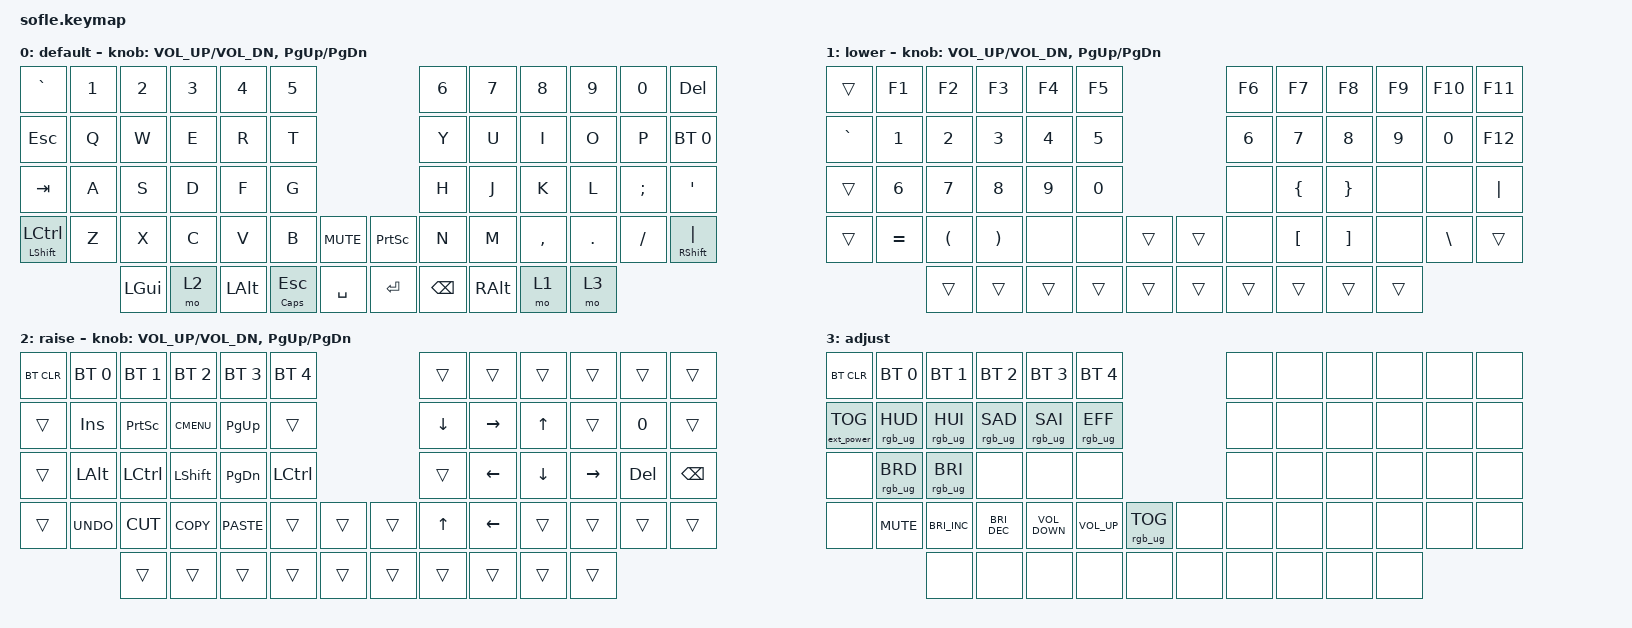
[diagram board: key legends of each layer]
/*
 * Copyright (c) 2020 The ZMK Contributors
 *
 * SPDX-License-Identifier: MIT
 */

#include <behaviors.dtsi>
#include <dt-bindings/zmk/bt.h>
#include <dt-bindings/zmk/ext_power.h>
#include <dt-bindings/zmk/keys.h>
#include <dt-bindings/zmk/rgb.h>

#define BASE 0
#define LOWER 1
#define RAISE 2
#define ADJUST 3

/ {
    // Activate ADJUST layer by pressing raise and lower

    conditional_layers {
        compatible = "zmk,conditional-layers";

        adjust_layer {
            if-layers = <LOWER RAISE>;
            then-layer = <ADJUST>;
        };
    };

    keymap {
        compatible = "zmk,keymap";

        default_layer {
            display-name = "default";

            // ------------------------------------------------------------------------------------------------------------
            // |   `   |  1  |  2  |  3   |  4   |  5   |                   |  6   |  7    |  8    |  9   |   0   |       |
            // |  ESC  |  Q  |  W  |  E   |  R   |  T   |                   |  Y   |  U    |  I    |  O   |   P   | BKSPC |
            // |  TAB  |  A  |  S  |  D   |  F   |  G   |                   |  H   |  J    |  K    |  L   |   ;   |   '   |
            // | SHIFT |  Z  |  X  |  C   |  V   |  B   |  MUTE  |  |       |  N   |  M    |  ,    |  .   |   /   | SHIFT |
            //               | GUI | ALT  | CTRL | LOWER|  ENTER |  | SPACE | RAISE| CTRL  | ALT   | GUI  |

            bindings = <
&kp GRAVE               &kp N1  &kp N2    &kp N3  &kp N4        &kp N5                                          &kp N6         &kp N7    &kp N8     &kp N9   &kp N0    &kp DEL
&kp ESC                 &kp Q   &kp W     &kp E   &kp R         &kp T                                           &kp Y          &kp U     &kp I      &kp O    &kp P     &bt BT_SEL 0
&kp TAB                 &kp A   &kp S     &kp D   &kp F         &kp G                                           &kp H          &kp J     &kp K      &kp L    &kp SEMI  &kp SQT
&mt LSHFT LEFT_CONTROL  &kp Z   &kp X     &kp C   &kp V         &kp B            &kp C_MUTE    &kp PRINTSCREEN  &kp N          &kp M     &kp COMMA  &kp DOT  &kp FSLH  &mt RSHFT PIPE
                                &kp LGUI  &mo 2   &kp LEFT_ALT  &mt CAPS ESCAPE  &kp SPACE     &kp ENTER        &kp BACKSPACE  &kp RALT  &mo 1      &mo 3
            >;

            sensor-bindings = <&inc_dec_kp C_VOL_UP C_VOL_DN &inc_dec_kp PG_UP PG_DN>;
        };

        lower_layer {
            display-name = "lower";

            // TODO: Some binds are waiting for shifted keycode support.
            // ------------------------------------------------------------------------------------------------------------
            // |       |  F1 |  F2 |  F3  |  F4  |  F5  |                   |  F6  |  F7   |  F8   |  F9  |  F10  |  F11  |
            // |   `   |  1  |  2  |  3   |  4   |  5   |                   |  6   |  7    |  8    |  9   |   0   |  F12  |
            // |       |  !  |  @  |  #   |  $   |  %   |                   |  ^   |  &    |  *    |  (   |   )   |   |   |
            // |       |  =  |  -  |  +   |  {   |  }   |        |  |       |  [   |  ]    |  ;    |  :   |   \   |       |
            //               |     |      |      |      |        |  |       |      |       |       |      |

            bindings = <
&trans     &kp F1        &kp F2                &kp F3                 &kp F4  &kp F5                    &kp F6  &kp F7          &kp F8           &kp F9  &kp F10   &kp F11
&kp GRAVE  &kp N1        &kp N2                &kp N3                 &kp N4  &kp N5                    &kp N6  &kp N7          &kp N8           &kp N9  &kp N0    &kp F12
&trans     &kp NUMBER_6  &kp N7                &kp N8                 &kp N9  &kp N0                    &none   &kp LEFT_BRACE  &kp RIGHT_BRACE  &none   &none     &kp PIPE
&trans     &kp EQUAL     &kp LEFT_PARENTHESIS  &kp RIGHT_PARENTHESIS  &none   &none   &trans    &trans  &none   &kp LBKT        &kp RBKT         &none   &kp BSLH  &trans
                         &trans                &trans                 &trans  &trans  &trans    &trans  &trans  &trans          &trans           &trans
            >;

            sensor-bindings = <&inc_dec_kp C_VOL_UP C_VOL_DN &inc_dec_kp PG_UP PG_DN>;
        };

        raise_layer {
            display-name = "raise";

            // ------------------------------------------------------------------------------------------------------------
            // | BTCLR | BT1  | BT2  |  BT3  |  BT4  |  BT5 |                |      |      |       |      |       |       |
            // |       | INS  | PSCR | GUI   |       |      |                | PGUP |      |   ^   |      |       |       |
            // |       | ALT  | CTRL | SHIFT |       | CAPS |                | PGDN |   <- |   v   |  ->  |  DEL  | BKSPC |
            // |       | UNDO | CUT  | COPY  | PASTE |      |      |  |      |      |      |       |      |       |       |
            //                |      |       |       |      |      |  |      |      |      |       |      |

            bindings = <
&bt BT_CLR  &bt BT_SEL 0  &bt BT_SEL 1  &bt BT_SEL 2  &bt BT_SEL 3   &bt BT_SEL 4                        &trans        &trans          &trans    &trans     &trans   &trans
&trans      &kp INS       &kp PSCRN     &kp K_CMENU   &kp PAGE_UP    &trans                              &kp DOWN      &kp RIGHT       &kp UP    &trans     &kp N0   &trans
&trans      &kp LALT      &kp LCTRL     &kp LSHFT     &kp PAGE_DOWN  &kp LEFT_CONTROL                    &trans        &kp LEFT        &kp DOWN  &kp RIGHT  &kp DEL  &kp BSPC
&trans      &kp K_UNDO    &kp K_CUT     &kp K_COPY    &kp K_PASTE    &trans            &trans    &trans  &kp UP_ARROW  &kp LEFT_ARROW  &trans    &trans     &trans   &trans
                          &trans        &trans        &trans         &trans            &trans    &trans  &trans        &trans          &trans    &trans
            >;

            sensor-bindings = <&inc_dec_kp C_VOL_UP C_VOL_DN &inc_dec_kp PG_UP PG_DN>;
        };

        adjust_layer {
            // ----------------------------------------------------------------------------------------------------------------------------
            // | BTCLR  |  BT1    |  BT2    |   BT3   |   BT4   |   BT5   |                  |      |      |       |      |       |       |
            // | EXTPWR | RGB_HUD | RGB_HUI | RGB_SAD | RGB_SAI | RGB_EFF |                  |      |      |       |      |       |       |
            // |        | RGB_BRD | RGB_BRI |         |         |         |                  |      |      |       |      |       |       |
            // |        |         |         |         |         |         | RGB_TOG | |      |      |      |       |      |       |       |
            //                    |         |         |         |         |         | |      |      |      |       |      |

            display-name = "adjust";
            bindings = <
&bt BT_CLR         &bt BT_SEL 0     &bt BT_SEL 1          &bt BT_SEL 2          &bt BT_SEL 3       &bt BT_SEL 4                               &none  &none  &none  &none  &none  &none
&ext_power EP_TOG  &rgb_ug RGB_HUD  &rgb_ug RGB_HUI       &rgb_ug RGB_SAD       &rgb_ug RGB_SAI    &rgb_ug RGB_EFF                            &none  &none  &none  &none  &none  &none
&none              &rgb_ug RGB_BRD  &rgb_ug RGB_BRI       &none                 &none              &none                                      &none  &none  &none  &none  &none  &none
&none              &kp C_MUTE       &kp C_BRIGHTNESS_INC  &kp C_BRIGHTNESS_DEC  &kp K_VOLUME_DOWN  &kp K_VOLUME_UP  &rgb_ug RGB_TOG    &none  &none  &none  &none  &none  &none  &none
                                    &none                 &none                 &none              &none            &none              &none  &none  &none  &none  &none
            >;
        };
    };
};
